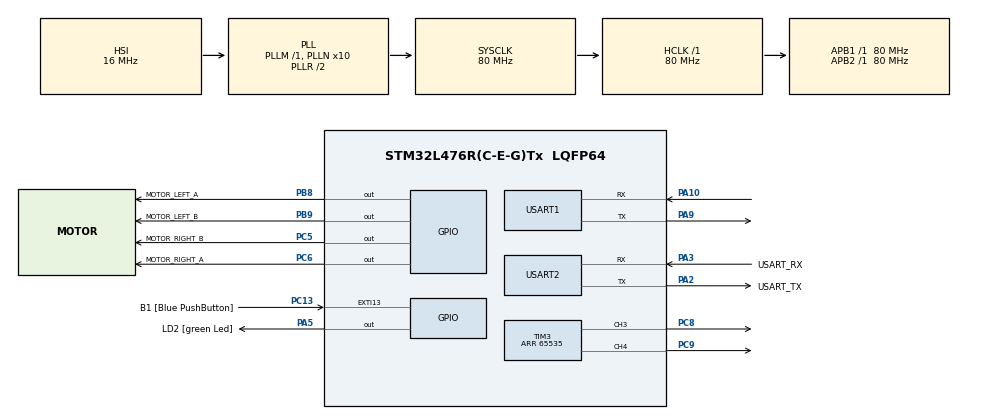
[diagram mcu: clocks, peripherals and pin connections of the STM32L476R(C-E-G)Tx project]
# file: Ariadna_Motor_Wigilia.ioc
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Dma.Request0=USART1_RX
Dma.USART1_RX.0.Direction=DMA_PERIPH_TO_MEMORY
Dma.USART1_RX.0.Instance=DMA1_Channel5
Dma.USART1_RX.0.MemDataAlignment=DMA_MDATAALIGN_BYTE
Dma.USART1_RX.0.MemInc=DMA_MINC_ENABLE
Dma.USART1_RX.0.Mode=DMA_CIRCULAR
Dma.USART1_RX.0.PeriphDataAlignment=DMA_PDATAALIGN_BYTE
Dma.USART1_RX.0.PeriphInc=DMA_PINC_DISABLE
Dma.USART1_RX.0.Priority=DMA_PRIORITY_LOW
Mcu.Family=STM32L4
Mcu.Name=STM32L476R(C-E-G)Tx
Mcu.Package=LQFP64
NVIC.DMA1_Channel5_IRQn=true\:0\:0\:false\:false\:true\:false\:true
NVIC.PriorityGroup=NVIC_PRIORITYGROUP_4
NVIC.USART1_IRQn=true\:0\:0\:false\:false\:true\:true\:true
PA10.Mode=Asynchronous
PA10.Signal=USART1_RX
PA13\ (JTMS-SWDIO).GPIO_Label=TMS
PA13\ (JTMS-SWDIO).Mode=Serial_Wire
PA13\ (JTMS-SWDIO).Signal=SYS_JTMS-SWDIO
PA14\ (JTCK-SWCLK).GPIO_Label=TCK
PA14\ (JTCK-SWCLK).Mode=Serial_Wire
PA14\ (JTCK-SWCLK).Signal=SYS_JTCK-SWCLK
PA2.GPIO_Label=USART_TX
PA2.GPIO_Mode=GPIO_MODE_AF_PP
PA2.GPIO_PuPd=GPIO_NOPULL
PA2.GPIO_Speed=GPIO_SPEED_FREQ_VERY_HIGH
PA2.Mode=Asynchronous
PA2.Signal=USART2_TX
PA3.GPIO_Label=USART_RX
PA3.GPIO_Mode=GPIO_MODE_AF_PP
PA3.GPIO_PuPd=GPIO_NOPULL
PA3.GPIO_Speed=GPIO_SPEED_FREQ_VERY_HIGH
PA3.Mode=Asynchronous
PA3.Signal=USART2_RX
PA5.GPIO_Label=LD2 [green Led]
PA5.GPIO_ModeDefaultOutputPP=GPIO_MODE_OUTPUT_PP
PA5.GPIO_PuPd=GPIO_NOPULL
PA5.GPIO_Speed=GPIO_SPEED_FREQ_LOW
PA5.Signal=GPIO_Output
PA9.Mode=Asynchronous
PA9.Signal=USART1_TX
PB3\ (JTDO-TRACESWO).GPIO_Label=SWO
PB3\ (JTDO-TRACESWO).Signal=SYS_JTDO-SWO
PB8.GPIO_Label=MOTOR_LEFT_A
PB8.Signal=GPIO_Output
PB9.GPIO_Label=MOTOR_LEFT_B
PB9.Signal=GPIO_Output
PC13.GPIO_Label=B1 [Blue PushButton]
PC13.GPIO_ModeDefaultEXTI=GPIO_MODE_IT_FALLING
PC13.GPIO_PuPd=GPIO_NOPULL
PC13.Signal=GPXTI13
PC14-OSC32_IN\ (PC14).Mode=LSE-External-Oscillator
PC14-OSC32_IN\ (PC14).Signal=RCC_OSC32_IN
PC15-OSC32_OUT\ (PC15).Mode=LSE-External-Oscillator
PC15-OSC32_OUT\ (PC15).Signal=RCC_OSC32_OUT
PC5.GPIO_Label=MOTOR_RIGHT_B
PC5.Signal=GPIO_Output
PC6.GPIO_Label=MOTOR_RIGHT_A
PC6.Signal=GPIO_Output
PC8.Signal=S_TIM3_CH3
PC9.Signal=S_TIM3_CH4
PH0-OSC_IN\ (PH0).Signal=RCC_OSC_IN
PH1-OSC_OUT\ (PH1).Signal=RCC_OSC_OUT
ProjectManager.HeapSize=0x200
ProjectManager.StackSize=0x400
ProjectManager.TargetToolchain=STM32CubeIDE
RCC.ADCFreq_Value=64000000
RCC.AHBFreq_Value=80000000
RCC.APB1Freq_Value=80000000
RCC.APB1TimFreq_Value=80000000
RCC.APB2Freq_Value=80000000
RCC.APB2TimFreq_Value=80000000
RCC.CortexFreq_Value=80000000
RCC.HCLKFreq_Value=80000000
RCC.HSE_VALUE=8000000
RCC.HSI_VALUE=16000000
RCC.MSI_VALUE=4000000
RCC.PLLN=10
RCC.PLLSourceVirtual=RCC_PLLSOURCE_HSI
RCC.PREFETCH_ENABLE=1
RCC.SYSCLKFreq_VALUE=80000000
RCC.SYSCLKSource=RCC_SYSCLKSOURCE_PLLCLK
RCC.USBFreq_Value=64000000
RCC.VCOOutputFreq_Value=160000000
SH.S_TIM3_CH3.0=TIM3_CH3,PWM Generation3 CH3
SH.S_TIM3_CH4.0=TIM3_CH4,PWM Generation4 CH4
TIM3.Channel-PWM\ Generation3\ CH3=TIM_CHANNEL_3
TIM3.Channel-PWM\ Generation4\ CH4=TIM_CHANNEL_4
TIM3.Period=65535
USART1.VirtualMode-Asynchronous=VM_ASYNC
USART2.VirtualMode-Asynchronous=VM_ASYNC
board=NUCLEO-L476RG

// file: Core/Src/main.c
/* USER CODE BEGIN Header */
/**
  ******************************************************************************
  * @file           : main.c
  * @brief          : Main program body
  ******************************************************************************
  * @attention
  *
  * <h2><center>&copy; Copyright (c) 2021 STMicroelectronics.
  * All rights reserved.</center></h2>
  *
  * This software component is licensed by ST under BSD 3-Clause license,
  * the "License"; You may not use this file except in compliance with the
  * License. You may obtain a copy of the License at:
  *                        opensource.org/licenses/BSD-3-Clause
  *
  ******************************************************************************
  */
/* USER CODE END Header */
#include "main.h"
#include "dma.h"
#include "tim.h"
#include "usart.h"
#include "gpio.h"

/* USER CODE BEGIN Includes */

#include "ssl482.h"
#include "motor.h"

/* USER CODE END Includes */

void SystemClock_Config(void);

/* USER CODE BEGIN 0 */

SSL482_StructTypeDef ssl482;
Motor motor_l;
Motor motor_r;

/* USER CODE END 0 */

int main(void)
{

  /* MCU Configuration--------------------------------------------------------*/

  /* Reset of all peripherals, Initializes the Flash interface and the Systick. */
  HAL_Init();

  /* Configure the system clock */
  SystemClock_Config();

  /* Initialize all configured peripherals */
  MX_GPIO_Init();
  MX_DMA_Init();
  MX_USART2_UART_Init();
  MX_USART1_UART_Init();
  MX_TIM3_Init();

  /* Infinite loop */
  /* USER CODE BEGIN WHILE */

  SSL482_Init(&ssl482, &huart1);
  Motor_Init(&motor_l, &htim3, TIM_CHANNEL_3, MOTOR_LEFT_A_GPIO_Port, MOTOR_LEFT_A_Pin, MOTOR_LEFT_B_GPIO_Port, MOTOR_LEFT_B_Pin);
  Motor_Init(&motor_r, &htim3, TIM_CHANNEL_4, MOTOR_RIGHT_A_GPIO_Port, MOTOR_RIGHT_A_Pin, MOTOR_RIGHT_B_GPIO_Port, MOTOR_RIGHT_B_Pin);

  Motor_SetCompare(&motor_r, 65535);

  while(1) {

	  if(SSL482_GetStatus(&ssl482)==SSL482_OK) {
		  // remote
		  float power_l = (ssl482.throttle - ssl482.steering);
		  float power_r = -(ssl482.throttle + ssl482.steering);

		  Motor_SetSpeed(&motor_l, power_l);
		  Motor_SetSpeed(&motor_r, power_r);

		  //Motor_SetCompare(&motor_l, motor_l.compare + 1);
		  //Motor_SetCompare(&motor_r, motor_r.compare - 1);

		  HAL_Delay(10);

	  } else {
		  // disconnect

		  Motor_SetSpeed(&motor_l, 0);
		  Motor_SetSpeed(&motor_r, 0);
	  }

    /* USER CODE END WHILE */

  }
}

void SystemClock_Config(void)
{
  RCC_OscInitTypeDef RCC_OscInitStruct = {0};
  RCC_ClkInitTypeDef RCC_ClkInitStruct = {0};
  RCC_PeriphCLKInitTypeDef PeriphClkInit = {0};

  /** Initializes the RCC Oscillators according to the specified parameters
  * in the RCC_OscInitTypeDef structure.
  */
  RCC_OscInitStruct.OscillatorType = RCC_OSCILLATORTYPE_HSI;
  RCC_OscInitStruct.HSIState = RCC_HSI_ON;
  RCC_OscInitStruct.HSICalibrationValue = RCC_HSICALIBRATION_DEFAULT;
  RCC_OscInitStruct.PLL.PLLState = RCC_PLL_ON;
  RCC_OscInitStruct.PLL.PLLSource = RCC_PLLSOURCE_HSI;
  RCC_OscInitStruct.PLL.PLLM = 1;
  RCC_OscInitStruct.PLL.PLLN = 10;
  RCC_OscInitStruct.PLL.PLLP = RCC_PLLP_DIV7;
  RCC_OscInitStruct.PLL.PLLQ = RCC_PLLQ_DIV2;
  RCC_OscInitStruct.PLL.PLLR = RCC_PLLR_DIV2;
  if (HAL_RCC_OscConfig(&RCC_OscInitStruct) != HAL_OK)
  {
    Error_Handler();
  }
  /** Initializes the CPU, AHB and APB buses clocks
  */
  RCC_ClkInitStruct.ClockType = RCC_CLOCKTYPE_HCLK|RCC_CLOCKTYPE_SYSCLK
                              |RCC_CLOCKTYPE_PCLK1|RCC_CLOCKTYPE_PCLK2;
  RCC_ClkInitStruct.SYSCLKSource = RCC_SYSCLKSOURCE_PLLCLK;
  RCC_ClkInitStruct.AHBCLKDivider = RCC_SYSCLK_DIV1;
  RCC_ClkInitStruct.APB1CLKDivider = RCC_HCLK_DIV1;
  RCC_ClkInitStruct.APB2CLKDivider = RCC_HCLK_DIV1;

  if (HAL_RCC_ClockConfig(&RCC_ClkInitStruct, FLASH_LATENCY_4) != HAL_OK)
  {
    Error_Handler();
  }
  PeriphClkInit.PeriphClockSelection = RCC_PERIPHCLK_USART1|RCC_PERIPHCLK_USART2;
  PeriphClkInit.Usart1ClockSelection = RCC_USART1CLKSOURCE_PCLK2;
  PeriphClkInit.Usart2ClockSelection = RCC_USART2CLKSOURCE_PCLK1;
  if (HAL_RCCEx_PeriphCLKConfig(&PeriphClkInit) != HAL_OK)
  {
    Error_Handler();
  }
  /** Configure the main internal regulator output voltage
  */
  if (HAL_PWREx_ControlVoltageScaling(PWR_REGULATOR_VOLTAGE_SCALE1) != HAL_OK)
  {
    Error_Handler();
  }
}

/* USER CODE BEGIN 4 */

void HAL_UART_RxCpltCallback(UART_HandleTypeDef *huart) {
	if(huart->Instance==ssl482.huart->Instance) {
		SSL482_OnRecive(&ssl482);
	}
}

/* USER CODE END 4 */

void Error_Handler(void)
{
  __disable_irq();
  while (1)
  {
  }
}

/************************ (C) COPYRIGHT STMicroelectronics *****END OF FILE****/
